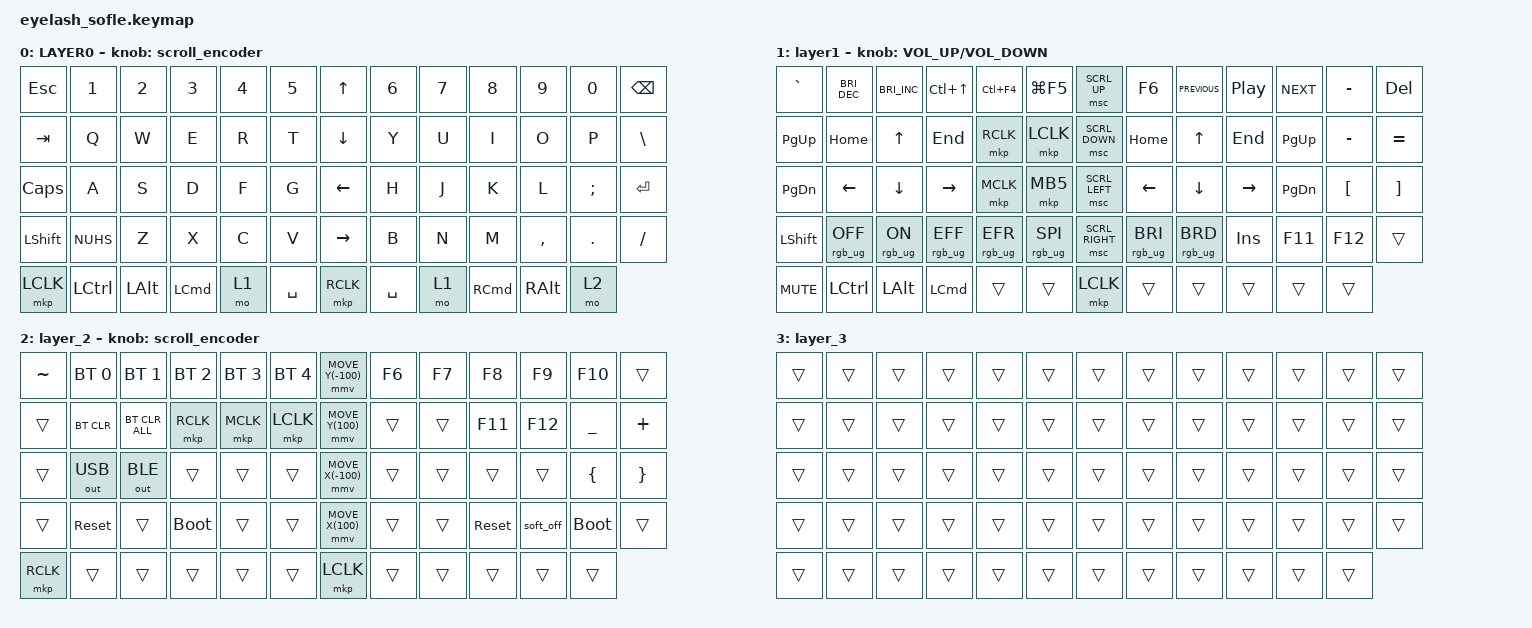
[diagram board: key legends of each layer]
#define ZMK_POINTING_DEFAULT_MOVE_VAL 1200  // 600
#define ZMK_POINTING_DEFAULT_SCRL_VAL 25   // 10

#include <input/processors.dtsi>
#include <zephyr/dt-bindings/input/input-event-codes.h>
#include <behaviors.dtsi>
#include <dt-bindings/zmk/bt.h>
#include <dt-bindings/zmk/keys.h>
#include <dt-bindings/zmk/outputs.h>
#include <dt-bindings/zmk/pointing.h>
#include <dt-bindings/zmk/rgb.h>

&mmv_input_listener { input-processors = <&zip_xy_scaler 2 1>; };

&msc_input_listener { input-processors = <&zip_scroll_scaler 2 1>; };

&msc {
    acceleration-exponent = <1>;      // 0
    time-to-max-speed-ms = <100>;       // 300
    delay-ms = <0>;                   // 0
};

&mmv {
    time-to-max-speed-ms = <1250>;
    acceleration-exponent = <1>;
    trigger-period-ms = <16>;
};

/ {
    scroll_encoder: scroll_encoder {
        compatible = "zmk,behavior-sensor-rotate";
        #sensor-binding-cells = <0>;
        bindings = <&msc SCRL_DOWN>, <&msc SCRL_UP>;

        tap-ms = <100>;
    };

    behaviors {
    };

    keymap {
        compatible = "zmk,keymap";

        layer0 {
            bindings = <
&kp ESC       &kp N1     &kp N2        &kp N3            &kp N4  &kp N5       &kp UP_ARROW  &kp N6     &kp N7  &kp N8             &kp N9         &kp N0    &kp BACKSPACE
&kp TAB       &kp Q      &kp W         &kp E             &kp R   &kp T        &kp DOWN      &kp Y      &kp U   &kp I              &kp O          &kp P     &kp BSLH
&kp CAPSLOCK  &kp A      &kp S         &kp D             &kp F   &kp G        &kp LEFT      &kp H      &kp J   &kp K              &kp L          &kp SEMI  &kp ENTER
&kp LSHFT     &kp NUHS   &kp Z         &kp X             &kp C   &kp V        &kp RIGHT     &kp B      &kp N   &kp M              &kp COMMA      &kp DOT   &kp FSLH
&mkp LCLK     &kp LCTRL  &kp LEFT_ALT  &kp LEFT_COMMAND  &mo 1   &kp SPACE    &mkp RCLK     &kp SPACE  &mo 1   &kp RIGHT_COMMAND  &kp RIGHT_ALT  &mo 2
            >;

            sensor-bindings = <&scroll_encoder>;
            display-name = "LAYER0";
        };

        layer_1 {
            bindings = <
&kp GRAVE       &kp C_BRIGHTNESS_DEC  &kp C_BRIGHTNESS_INC  &kp LC(UP)        &kp LC(F4)       &kp LG(F5)         &msc SCRL_UP     &kp F6           &kp C_PREVIOUS   &kp C_PLAY_PAUSE  &kp C_NEXT     &kp MINUS         &kp DELETE
&kp PAGE_UP     &kp HOME              &kp UP                &kp END           &mkp RCLK        &mkp LCLK          &msc SCRL_DOWN   &kp HOME         &kp UP           &kp END           &kp PAGE_UP    &kp MINUS         &kp EQUAL
&kp PAGE_DOWN   &kp LEFT              &kp DOWN              &kp RIGHT         &mkp MCLK        &mkp MB5           &msc SCRL_LEFT   &kp LEFT         &kp DOWN         &kp RIGHT         &kp PAGE_DOWN  &kp LEFT_BRACKET  &kp RIGHT_BRACKET
&kp LEFT_SHIFT  &rgb_ug RGB_OFF       &rgb_ug RGB_ON        &rgb_ug RGB_EFF   &rgb_ug RGB_EFR  &rgb_ug RGB_SPI    &msc SCRL_RIGHT  &rgb_ug RGB_BRI  &rgb_ug RGB_BRD  &kp INSERT        &kp F11        &kp F12           &trans
&kp C_MUTE      &kp LCTRL             &kp LEFT_ALT          &kp LEFT_COMMAND  &trans           &trans             &mkp LCLK        &trans           &trans           &trans            &trans         &trans
            >;

            display-name = "layer1";
            sensor-bindings = <&inc_dec_kp C_VOLUME_UP C_VOLUME_DOWN>;
        };

        layer_2 {
            bindings = <
&kp TILDE  &bt BT_SEL 0  &bt BT_SEL 1    &bt BT_SEL 2  &bt BT_SEL 3  &bt BT_SEL 4    &mmv MOVE_Y(-100)  &kp F6  &kp F7  &kp F8      &kp F9     &kp F10      &trans
&trans     &bt BT_CLR    &bt BT_CLR_ALL  &mkp RCLK     &mkp MCLK     &mkp LCLK       &mmv MOVE_Y(100)   &trans  &trans  &kp F11     &kp F12    &kp UNDER    &kp PLUS
&trans     &out OUT_USB  &out OUT_BLE    &trans        &trans        &trans          &mmv MOVE_X(-100)  &trans  &trans  &trans      &trans     &kp LBRC     &kp RBRC
&trans     &sys_reset    &trans          &bootloader   &trans        &trans          &mmv MOVE_X(100)   &trans  &trans  &sys_reset  &soft_off  &bootloader  &trans
&mkp RCLK  &trans        &trans          &trans        &trans        &trans          &mkp LCLK          &trans  &trans  &trans      &trans     &trans
            >;

            sensor-bindings = <&scroll_encoder>;
        };

        layer_3 {
            bindings = <
&trans  &trans  &trans  &trans  &trans  &trans    &trans  &trans  &trans  &trans  &trans  &trans  &trans
&trans  &trans  &trans  &trans  &trans  &trans    &trans  &trans  &trans  &trans  &trans  &trans  &trans
&trans  &trans  &trans  &trans  &trans  &trans    &trans  &trans  &trans  &trans  &trans  &trans  &trans
&trans  &trans  &trans  &trans  &trans  &trans    &trans  &trans  &trans  &trans  &trans  &trans  &trans
&trans  &trans  &trans  &trans  &trans  &trans    &trans  &trans  &trans  &trans  &trans  &trans
            >;
        };
    };
};
